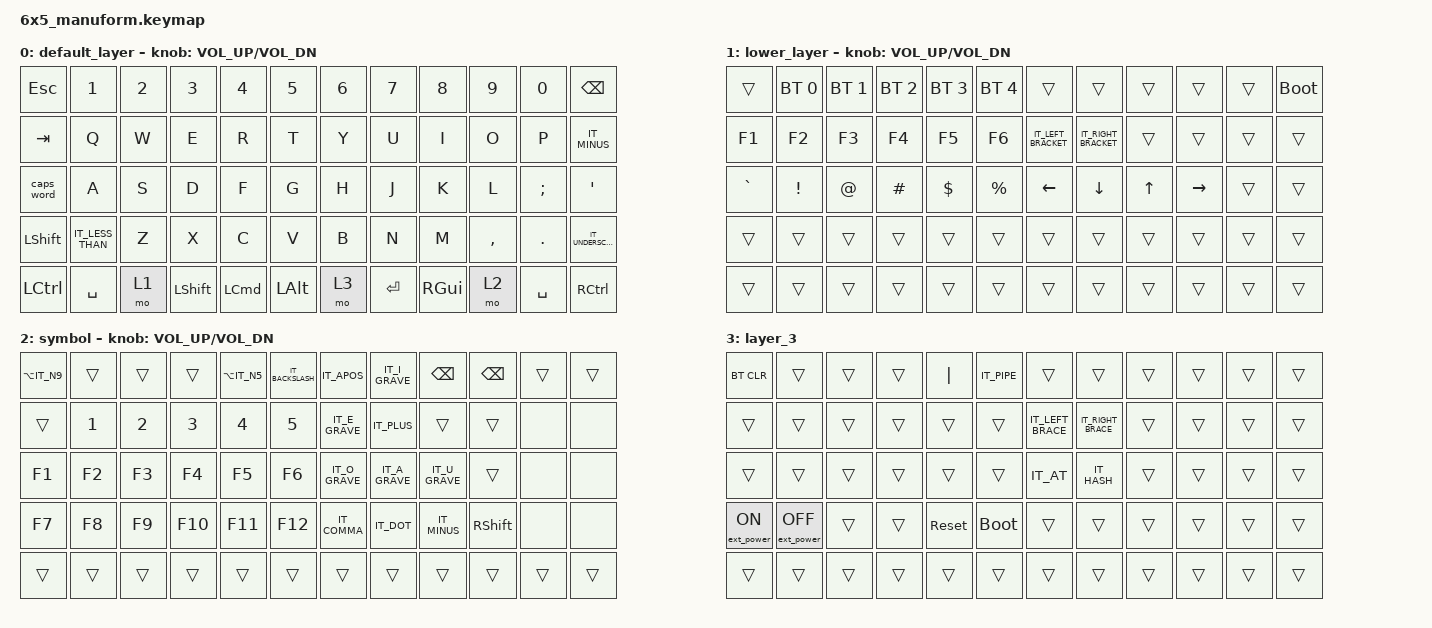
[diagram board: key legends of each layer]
/*
 * Copyright (c) 2020 The ZMK Contributors
 *
 * SPDX-License-Identifier: MIT
 */

#include "keys_it.h"
#include <behaviors.dtsi>
#include <dt-bindings/zmk/bt.h>
#include <dt-bindings/zmk/ext_power.h>
#include <dt-bindings/zmk/keys.h>

/ {
    macros {
        tilde_macro: new_macro {
            compatible = "zmk,behavior-macro";
            #binding-cells = <0>;
            bindings = <&kp TILDE>;
            label = "NEW_MACRO";
        };
    };

    keymap {
        compatible = "zmk,keymap";

        default_layer {
            // ------------------------------------------------------------------------------------------------------------
            // |  ESC   |  1  |  2  |  3   |  4   |  5   |                    |  6   |  7    |  8    |  9   |   0   |   `   |
            // |  TAB   |  Q  |  W  |  E   |  R   |  T   |                    |  Y   |  U    |  I    |  O   |   P   |   -   |
            // |  CTRL  |  A  |  S  |  D   |  F   |  G   |                    |  H   |  J    |  K    |  L   |   ;   |   '   |
            // | SHIFT  |  Z  |  X  |  C   |  V   |  B   |                    |  N   |  M    |  ,    |  .   |   /   | SHIFT |
            // |    2   |  2  | f   | 6    | 4    | 1    |                    | 2    | 1     | w     | s    | n     |  a    |

            bindings = <
&kp ESC         &kp N1            &kp N2  &kp N3     &kp N4            &kp N5    &kp N6  &kp N7   &kp N8    &kp N9     &kp N0      &kp BACKSPACE
&kp TAB         &kp Q             &kp W   &kp E      &kp R             &kp T     &kp Y   &kp U    &kp I     &kp O      &kp P       &kp IT_MINUS
&caps_word      &kp A             &kp S   &kp D      &kp F             &kp G     &kp H   &kp J    &kp K     &kp L      &kp SEMI    &kp SINGLE_QUOTE
&kp LEFT_SHIFT  &kp IT_LESS_THAN  &kp Z   &kp X      &kp C             &kp V     &kp B   &kp N    &kp M     &kp COMMA  &kp PERIOD  &kp IT_UNDERSCORE
&kp LCTRL       &kp SPACE         &mo 1   &kp LSHFT  &kp LEFT_COMMAND  &kp LALT  &mo 3   &kp RET  &kp RGUI  &mo 2      &kp SPACE   &kp RCTRL
            >;

            sensor-bindings = <&inc_dec_kp C_VOL_UP C_VOL_DN>;
        };

        lower_layer {
            // ------------------------------------------------------------------------------------------------------------
            // | BTCLR | BT1 | BT2 |  BT3 |  BT4 |  BT5 |                   |      |       |       |      |       |       |
            // |  F1   |  F2 |  F3 |  F4  |  F5  |  F6  |                   |  F7  |  F8   |  F9   |  F10 |  F11  |  F12  |
            // |   `   |  !  |  @  |  #   |  $   |  %   |                   |  ^   |  &    |  *    |  (   |   )   |   ~   |
            // |       |     |     |      |      |      |                   |      |  _    |  +    |  {   |   }   |  "|"  |
            // |       |     |     |      |      |      |                   |      |       |       |      |       |       |

            bindings = <
&trans     &bt BT_SEL 0  &bt BT_SEL 1  &bt BT_SEL 2  &bt BT_SEL 3  &bt BT_SEL 4  &trans               &trans                &trans        &trans           &trans  &bootloader
&kp F1     &kp F2        &kp F3        &kp F4        &kp F5        &kp F6        &kp IT_LEFT_BRACKET  &kp IT_RIGHT_BRACKET  &trans        &trans           &trans  &trans
&kp GRAVE  &kp EXCL      &kp AT        &kp HASH      &kp DOLLAR    &kp PRCNT     &kp LEFT_ARROW       &kp DOWN_ARROW        &kp UP_ARROW  &kp RIGHT_ARROW  &trans  &trans
&trans     &trans        &trans        &trans        &trans        &trans        &trans               &trans                &trans        &trans           &trans  &trans
&trans     &trans        &trans        &trans        &trans        &trans        &trans               &trans                &trans        &trans           &trans  &trans
            >;

            sensor-bindings = <&inc_dec_kp C_VOL_UP C_VOL_DN>;
        };

        symbol_layer {
            // ------------------------------------------------------------------------------------------------------------
            // |       |     |     |      |      |      |                   |      |       |       |      |       |       |
            // |   `   |  1  |  2  |  3   |  4   |  5   |                   |  6   |   7   |   8   |  9   |   0   |       |
            // |   F1  |  F2 |  F3 |  F4  |  F5  |  F6  |                   |      |   <-  |   v   |  ^   |  ->   |       |
            // |   F7  |  F8 |  F9 |  F10 |  F11 |  F12 |		             |  +   |   -   |   =   |  [   |   ]   |   \   |
            // |     |     |      |      |      |        |                   |       |      |       |       |      |       |

            bindings = <
&kp LA(IT_N9)  &trans  &trans  &trans   &kp LA(IT_N5)  &kp IT_BACKSLASH  &kp IT_APOS     &kp IT_I_GRAVE  &kp BACKSPACE   &kp BACKSPACE    &trans  &trans
&trans         &kp N1  &kp N2  &kp N3   &kp N4         &kp N5            &kp IT_E_GRAVE  &kp IT_PLUS     &trans          &trans           &none   &none
&kp F1         &kp F2  &kp F3  &kp F4   &kp F5         &kp F6            &kp IT_O_GRAVE  &kp IT_A_GRAVE  &kp IT_U_GRAVE  &trans           &none   &none
&kp F7         &kp F8  &kp F9  &kp F10  &kp F11        &kp F12           &kp IT_COMMA    &kp IT_DOT      &kp IT_MINUS    &kp RIGHT_SHIFT  &none   &none
&trans         &trans  &trans  &trans   &trans         &trans            &trans          &trans          &trans          &trans           &trans  &trans
            >;

            sensor-bindings = <&inc_dec_kp C_VOL_UP C_VOL_DN>;
            label = "symbol";
        };

        layer_3 {
            bindings = <
&bt BT_CLR        &trans             &trans  &trans  &kp PIPE    &kp IT_PIPE  &trans             &trans              &trans  &trans  &trans  &trans
&trans            &trans             &trans  &trans  &trans      &trans       &kp IT_LEFT_BRACE  &kp IT_RIGHT_BRACE  &trans  &trans  &trans  &trans
&trans            &trans             &trans  &trans  &trans      &trans       &kp IT_AT          &kp IT_HASH         &trans  &trans  &trans  &trans
&ext_power EP_ON  &ext_power EP_OFF  &trans  &trans  &sys_reset  &bootloader  &trans             &trans              &trans  &trans  &trans  &trans
&trans            &trans             &trans  &trans  &trans      &trans       &trans             &trans              &trans  &trans  &trans  &trans
            >;
        };
    };
};
